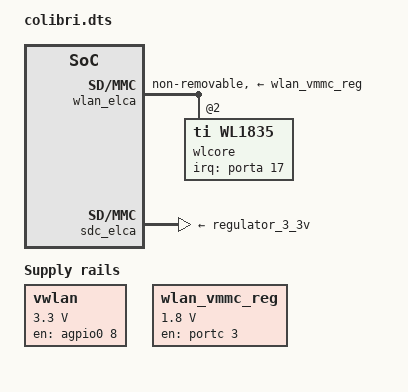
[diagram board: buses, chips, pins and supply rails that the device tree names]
/* Device tree overlay for Colibri FPGA configuration and device probing */

/dts-v1/ /plugin/;

/ {
	fragment@0 {
		/* controlling bridge */
		target-path = "/soc/fpgamgr@ff706000/bridge@0";
		__overlay__ {
			#address-cells = <1>;
	                #size-cells = <1>;

			area@0 {
				compatible = "fpga-area";

				#address-cells = <2>;
				#size-cells = <1>;
				ranges = <0 0x00000000 0xff200000 0x00060000>,
					<1 0x00000000 0xc0000000 0x00040000>;

				firmware-name = "colibri.rbf";

				/* used for manual CASA triggering */
				timing_core_0: timing_core@0x1c0c0 {
					status = "disabled";
					compatible = "unknown,unknown-1.0";
					reg = <0 0x1c0c0 0x00000010>;
					interrupt-parent = <&intc>;
					interrupts = <0 47 4>;
				}; //end unknown@0x10001c0c0 (timing_core_0)

				casa_fifo_streamer: casa_fifo@1c0e0 {
					compatible = "generic-uio";
					reg = <0 0x1c0e0 0x00000020>;
					interrupt-parent = <&intc>;
					interrupts = <0 48 4>;
				};

				/* timestamp timer */
				timing_module: timing_module@0x1d000 {
					compatible = "generic-uio";
					reg = <0 0x1d000 0x00000040>;
					interrupt-parent = <&intc>;
					interrupts = <0 50 4>;
				}; //end unknown@0x10001c0c0 (timing_core_0)

				msgdma_edm: sgdma@0x10100 {
					/* status = "disabled"; */
					compatible = "colibri-edm";
					reg = <0 0x00010100 0x00000020>,
					      <0 0x00010120 0x00000010>,
					      <0 0x00010140 0x00000008>;
					reg-names = "CSR", "Descriptor_Slave", "Response_Slave";
					interrupt-parent = <&intc>;
					interrupts = <0 40 4>;
				}; //end unknown@0xff2110100 (msgdma_edm)

				msgdma_camera: msgdma@0x50000 {
					compatible = "colibri-fb";
					reg = <0 0x00050000 0x00000020>,
					      <0 0x00050020 0x00000010>,
					      <0 0x00050030 0x00000008>;
					reg-names = "csr", "descriptor_slave", "response";
					interrupt-parent = <&intc>;
					interrupts = <0 46 4>;
				}; //end msgdma@0xff21c040 (msgdma_camera)

				/* WLAN module power supply */
				vwlan: vwlan {
					compatible = "regulator-fixed";
					regulator-name = "vwlan";
					regulator-min-microvolt = <3300000>;
					regulator-max-microvolt = <3300000>;
					regulator-always-on;
					regulator-boot-on;
					/* VWLAN pin, module power switch */
					gpio = <&agpio0 8 0>;
					startup-delay-us = <70000>;
					enable-active-high;
				};

				/* WLAN_EN pin */
				wlan_vmmc_reg: regulator@1 {
					compatible = "regulator-fixed";
					regulator-name = "wlan-vmmc-regulator";
					regulator-min-microvolt = <1800000>;
					regulator-max-microvolt = <1800000>;
					/* WLAN_EN pin - HPS_GPIO61, gpio2 3 */
					gpio = <&portc 3 0>;
					/* WLAN card specific delay */
					startup-delay-us = <70000>;
					enable-active-high;
				};

				wlan_elca: sdhci@0x20000 {
					compatible = "elca,sd_mmc_elca-15.11", "generic-sdhci";
					reg = <1 0x00020000 0x00000100>;
					interrupt-parent = <&intc>;
					interrupts = <0 49 4>;
					cap-mmc-highspeed = <1>;
					cap-sd-highspeed = <1>;
					sdhci,auto-cmd12 = <1>;
					vmmc-supply = <&wlan_vmmc_reg>;
					non-removable;
					cap-power-off-card;
					keep-power-in-suspend;

					#address-cells = <1>;
					#size-cells = <0>;
					wlcore: wlcore@0 {
						compatible = "ti,wl1835";
						reg = <2>;
						interrupt-parent = <&porta>; /* HPS_GPIO17 */
						/* 1 - IRQ_TYPE_EDGE_RISING */
						interrupts = <17 1>;
					};
				}; //end sdhci@0x000020000 (wlan_elca)

			      	sdc_elca: sdhci@0x30000 {
					compatible = "elca,sd_mmc_elca-15.11", "generic-sdhci";
					reg = <1 0x00030000 0x00000100>;
					interrupt-parent = <&intc>;
					interrupts = <0 43 4>;
					cap-mmc-highspeed = <1>;
					cap-sd-highspeed = <1>;
					sdhci,auto-cmd12 = <1>;
					vmmc-supply = <&regulator_3_3v>;
					vqmmc-supply = <&regulator_3_3v>;
				}; //end sdhci@0x000030000 (sdc_elca)

			}; /* area@0 */
		}; /* __overlay__ */
	};

	fragment@1 {
		target = <&agpio0>;
		__overlay__ {
			status = "okay";
			interrupts = <0 44 1>;	/* edge triggered */
			altr,interrupt_type = <1>;	/* edge rising */
		};
	};
};
